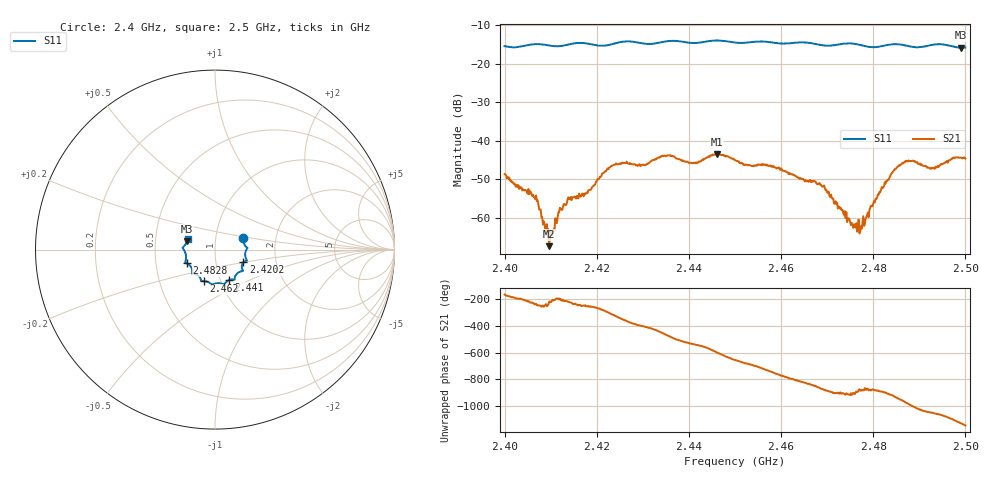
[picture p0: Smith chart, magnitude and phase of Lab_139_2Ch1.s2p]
# Hz S RI R 50
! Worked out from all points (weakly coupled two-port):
!   601 points, 2.4 GHz to 2.5 GHz, reference 50 ohm
!   highest |S21| = -43.48 dB at 2.446 GHz (marker M1); lowest = -67.4 dB at 2.4097 GHz (marker M2)
!   lowest |S11| = -15.8 dB at 2.499 GHz (marker M3), VSWR 1.39, Z = 36.4 + j3.49 ohm
!   |S11| at or under -10 dB: start of sweep to end of sweep
!   S12 and S22 are empty: the file has one direction only
!   S11 on the Smith chart (normalised r, x): 2.4 GHz: 1.36, +0.18; 2.4202 GHz: 1.36, -0.20; 2.441 GHz: 1.10, -0.39; 2.462 GHz: 0.84, -0.30; 2.4828 GHz: 0.72, -0.11; 2.5 GHz: 0.73, +0.09
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2.4e9  0.1581 0.0627  -0.0036 -0.000796  0 0  0 0
2.406667e9  0.1805 0.00983  -0.000869 0.0015  0 0  0 0
2.409667e9  0.1733 -0.00352  -0.000313 0.000287  0 0  0 0
2.410167e9  0.1715 -0.00802  -0.000495 0.000413  0 0  0 0
2.413333e9  0.1704 -0.0434  -0.00119 0.000845  0 0  0 0
2.416667e9  0.1775 -0.0608  -0.000543 0.00185  0 0  0 0
2.420167e9  0.1581 -0.071  4.94e-05 0.00318  0 0  0 0
2.423667e9  0.1504 -0.1044  0.00382 0.00298  0 0  0 0
2.433333e9  0.1115 -0.1512  0.00104 -0.00596  0 0  0 0
2.441e9  0.0784 -0.1697  -0.00517 -0.000299  0 0  0 0
2.446e9  0.0501 -0.1953  -0.00356 0.00567  0 0  0 0
2.45e9  0.0282 -0.1874  0.00236 0.00509  0 0  0 0
2.462e9  -0.0606 -0.1756  0.000974 -0.00361  0 0  0 0
2.466667e9  -0.0786 -0.1683  -0.00157 -0.00257  0 0  0 0
2.469333e9  -0.0901 -0.1485  -0.00243 -0.000976  0 0  0 0
2.477e9  -0.1268 -0.1241  -0.000558 -0.000275  0 0  0 0
2.482833e9  -0.1576 -0.0764  -0.00299 3.36e-05  0 0  0 0
2.483333e9  -0.1607 -0.0751  -0.0031 0.000359  0 0  0 0
2.487167e9  -0.1628 -0.0583  -0.00149 0.00529  0 0  0 0
2.492833e9  -0.1772 0.00425  0.00373 0.00229  0 0  0 0
2.499e9  -0.1554 0.0467  0.00414 -0.00441  0 0  0 0
2.5e9  -0.152 0.0609  0.00263 -0.00526  0 0  0 0
